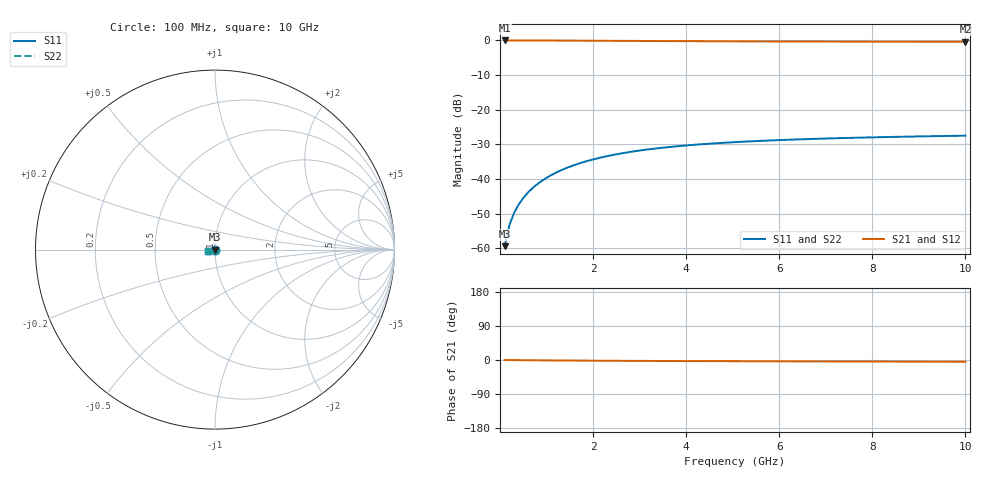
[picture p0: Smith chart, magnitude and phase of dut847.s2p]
! Touchstone file exported from HFSS 2024.1.0
!  File:  C:/UserFiles/LocalFiles/RDL_TSV_Batchsim/temp_TSV1_847_1779880637.aedt
!  Generated:  07:22:06 PM May 27, 2026
!  Design:  TSV1
!  Project:  temp_TSV1_847_1779880637
!  Setup:  Setup1
!  Solution:  Sweep
! Variables:
!  dtsv = 9.21um
!  hbump = 3um
!  htsv = 71.6um
!  lrdl = 252.1521522um
!  p = 40
!  p1 = 41.1um
!  t = 500um
!  trdl = 3um
!  wrdl = 24.89489489um
# GHz S MA R 50.000000
! Terminal data exported
! Port[1] = TSV22_T1
! Port[2] = TSV22_T2
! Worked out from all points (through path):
!   100 points, 100 MHz to 10 GHz, reference 50 ohm
!   highest |S21| = 0.00 dB at 100 MHz (marker M1); lowest = -0.4 dB at 10 GHz (marker M2)
!   lowest |S11| = -59.4 dB at 100 MHz (marker M3), VSWR 1.00, Z = 50 - j0.106 ohm
!   |S11| at or under -10 dB: start of sweep to end of sweep
!   |S22| runs from -59.4 to -27.5 dB; largest |S21 - S12| = 4.2e-15
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0.1  0.001067 -82.8  0.9998 -0.1  0.9998 -0.1  0.001067 -82.8
! Gamma 0 0 0 0
! Port Impedance 50 0 50 0
0.2  0.002121 -88.4  0.9997 -0.2  0.9997 -0.2  0.002121 -88.4
0.3  0.003181 -91.4  0.9995 -0.3  0.9995 -0.3  0.003181 -91.4
0.4  0.004238 -93.7  0.9993 -0.4  0.9993 -0.4  0.004238 -93.7
0.5  0.005288 -95.7  0.9991 -0.5  0.9991 -0.5  0.005288 -95.7
0.6  0.006328 -97.5  0.9987 -0.6  0.9987 -0.6  0.006328 -97.5
0.7  0.007357 -99.3  0.9984 -0.7  0.9984 -0.7  0.007357 -99.3
0.8  0.008372 -101.0  0.998 -0.8  0.998 -0.8  0.008372 -101.0
0.9  0.009372 -102.6  0.9975 -0.9  0.9975 -0.9  0.009372 -102.6
1.1  0.01132 -105.8  0.9965 -1.1  0.9965 -1.1  0.01132 -105.8
1.4  0.01411 -110.2  0.9947 -1.4  0.9947 -1.4  0.01411 -110.2
1.6  0.01586 -113.1  0.9933 -1.5  0.9933 -1.5  0.01586 -113.1
1.8  0.01752 -115.8  0.9919 -1.7  0.9919 -1.7  0.01752 -115.8
2.1  0.01985 -119.7  0.9897 -1.9  0.9897 -1.9  0.01985 -119.7
2.5  0.02265 -124.5  0.9867 -2.1  0.9867 -2.1  0.02265 -124.5
2.9  0.02511 -128.9  0.9838 -2.3  0.9838 -2.3  0.02511 -128.9
3.4  0.02776 -133.9  0.9803 -2.6  0.9803 -2.6  0.02776 -133.9
4.2  0.03118 -140.8  0.9754 -2.9  0.9754 -2.9  0.03118 -140.8
5.1  0.03411 -147.4  0.9707 -3.2  0.9707 -3.2  0.03411 -147.4
6.7  0.03776 -156.7  0.9646 -3.7  0.9646 -3.7  0.03776 -156.7
8.4  0.04035 -164.4  0.9601 -4.1  0.9601 -4.1  0.04035 -164.4
10  0.04211 -170.5  0.9571 -4.6  0.9571 -4.6  0.0421 -170.5
